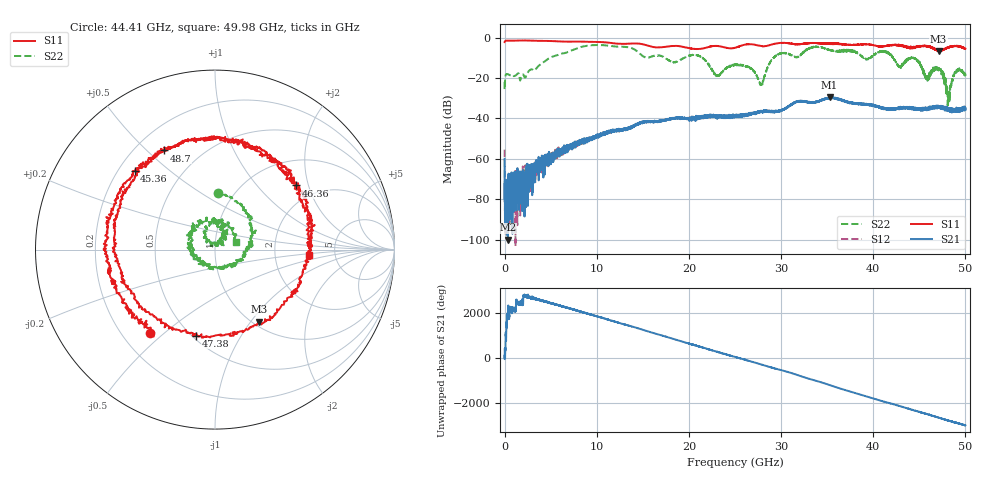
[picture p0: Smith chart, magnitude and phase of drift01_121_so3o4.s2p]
!Created with skrf (http://scikit-rf.org).
# Hz S RI R 50.0
!freq ReS11 ImS11 ReS21 ImS21 ReS12 ImS12 ReS22 ImS22
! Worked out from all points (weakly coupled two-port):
!   10001 points, 300 kHz to 50 GHz, reference 50 ohm
!   highest |S21| = -29.53 dB at 35.26 GHz (marker M1); lowest = -100.1 dB at 350.3 MHz (marker M2)
!   lowest |S11| = -6.6 dB at 47.09 GHz (marker M3), VSWR 2.77, Z = 53.3 - j54.9 ohm
!   |S11| at or under -10 dB: nowhere
!   |S22| runs from -33.5 to -3.6 dB; largest |S21 - S12| = 0.004
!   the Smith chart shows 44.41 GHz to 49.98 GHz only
!   S11 on the Smith chart (normalised r, x): 44.41 GHz: 0.32, -0.45; 45.36 GHz: 0.27, +0.38; 46.36 GHz: 1.56, +1.66; 47.38 GHz: 0.52, -0.66; 48.7 GHz: 0.31, +0.57; 49.98 GHz: 3.19, -0.28
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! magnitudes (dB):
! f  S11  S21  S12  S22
! 300 kHz  -2.1  -60.0  -55.5  -21.9
! 350.3 MHz  -1.4  -100.1  -82.8  -18.1
! 8.335 GHz  -1.9  -52.0  -51.2  -4.5
! 16.67 GHz  -4.8  -41.7  -41.5  -8.7
! 20.96 GHz  -5.6  -40.2  -39.5  -8.7
! 23.08 GHz  -4.1  -38.9  -39.5  -18.8
! 25 GHz  -5.0  -39.1  -38.6  -13.8
! 27.85 GHz  -4.1  -36.6  -36.8  -23.1
! 29.47 GHz  -2.8  -36.6  -36.6  -8.8
! 33.34 GHz  -2.6  -32.1  -32.0  -4.8
! 35.26 GHz  -3.0  -29.5  -29.8  -6.1
! 41.67 GHz  -3.8  -35.6  -35.4  -7.8
! 42.87 GHz  -3.7  -34.8  -34.6  -14.3
! 44.41 GHz  -4.6  -35.0  -35.2  -10.1
! 45.36 GHz  -4.1  -35.4  -35.6  -15.8
! 46.36 GHz  -4.8  -34.4  -34.8  -16.9
! 47.09 GHz  -6.6  -34.8  -34.5  -16.1
! 47.38 GHz  -6.2  -34.2  -34.4  -17.0
! 48.13 GHz  -4.8  -35.3  -35.1  -31.1
! 48.7 GHz  -4.1  -35.2  -35.9  -19.1
! 49.98 GHz  -5.6  -35.4  -34.6  -18.3
! 50 GHz  -5.5  -35.5  -34.6  -18.3
